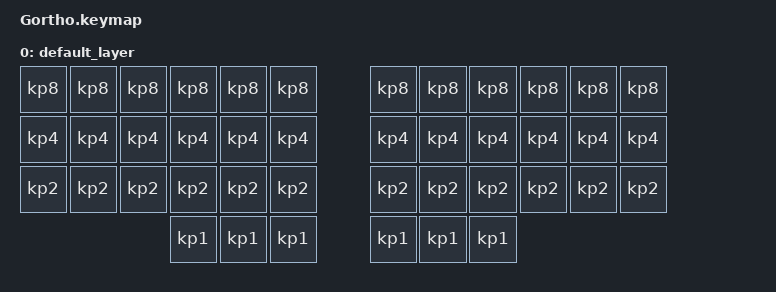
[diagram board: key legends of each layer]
#include <behaviors.dtsi>
#include <dt-bindings/zmk/keys.h>


/ {  
    keymap {
        compatible = "zmk,keymap";

        default_layer {
            bindings = <
                &kp KP_N8     &kp KP_N8     &kp KP_N8     &kp KP_N8     &kp KP_N8     &kp KP_N8     &kp KP_N8     &kp KP_N8     &kp KP_N8     &kp KP_N8     &kp KP_N8     &kp KP_N8
                &kp KP_N4     &kp KP_N4     &kp KP_N4     &kp KP_N4     &kp KP_N4     &kp KP_N4     &kp KP_N4     &kp KP_N4     &kp KP_N4     &kp KP_N4     &kp KP_N4     &kp KP_N4
                &kp KP_N2     &kp KP_N2     &kp KP_N2     &kp KP_N2     &kp KP_N2     &kp KP_N2     &kp KP_N2     &kp KP_N2     &kp KP_N2     &kp KP_N2     &kp KP_N2     &kp KP_N2
                                                          &kp KP_N1     &kp KP_N1     &kp KP_N1     &kp KP_N1     &kp KP_N1     &kp KP_N1
            >;
        };
    };
};
